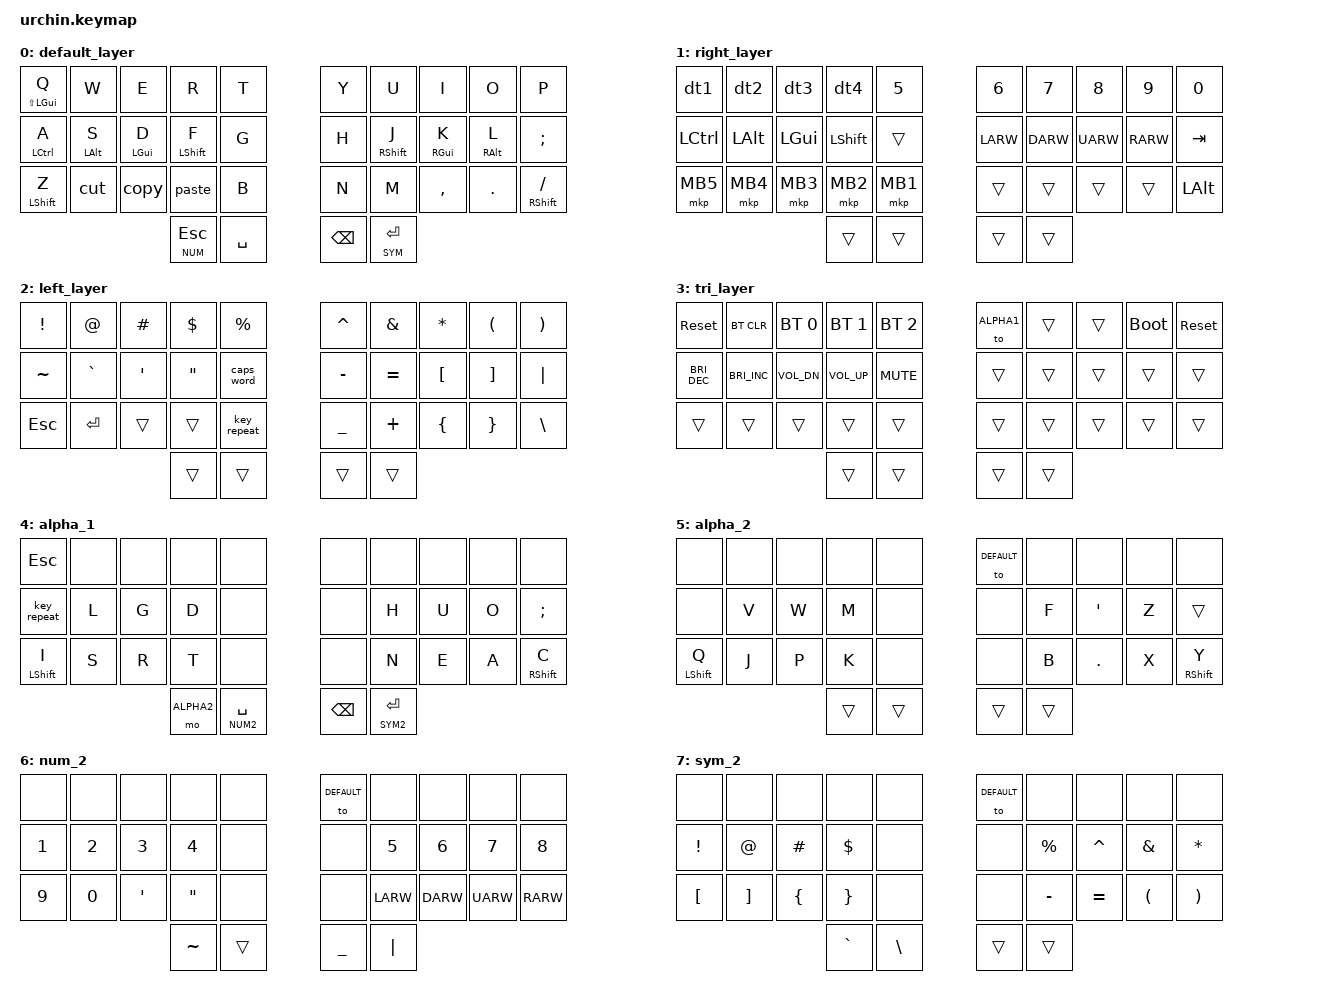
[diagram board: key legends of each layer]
/*
 * Copyright (c) 2020 duckyb
 *
 * SPDX-License-Identifier: MIT
 */

#include "keymap_italian.h"
#include <dt-bindings/zmk/mouse.h>
#include <behaviors.dtsi>
#include <dt-bindings/zmk/bt.h>
#include <dt-bindings/zmk/keys.h>

/* Layers */
#define DEFAULT 0
#define NUM 1
#define SYM 2
#define SETTING 3
#define ALPHA1 4
#define ALPHA2 5
#define NUM2 6
#define SYM2 7

/ {
    combos {
        // 0  1  2  3  4  ** 5  6  7  8  9
        // 10 11 12 13 14 ** 15 16 17 18 19
        // 20 21 22 23 24 ** 25 26 27 28 29
        //          30 31 ** 32 33

        compatible = "zmk,combos";
        combo_esc {
            timeout-ms = <50>;
            key-positions = <16 17>;
            bindings = <&kp ESC>;
        };
        combo_sl_0 {
            timeout-ms = <50>;
            key-positions = <13 14>;
            bindings = <&to DEFAULT>;
        };
        combo_sl_1 {
            timeout-ms = <50>;
            key-positions = <15 16>;
            bindings = <&to NUM>;
        };
        combo_repeat_key {
            timeout-ms = <50>;
            key-positions = <12 13>;
            bindings = <&key_repeat>;
        };
        combo_nuke_line {
            timeout-ms = <50>;
            key-positions = <25 26>;
            bindings = <&kp LG(BSPC)>;
        };
        combo_nuke_word {
            timeout-ms = <50>;
            key-positions = <26 27>;
            bindings = <&kp LA(BSPC)>;
        };
    };

    behaviors {
        ht: hold_tap {
            compatible = "zmk,behavior-hold-tap";
            #binding-cells = <2>;
            flavor = "tap-preferred";
            tapping-term-ms = <250>;
            quick-tap-ms = <150>;
            require-prior-idle-ms = <100>;
            bindings = <&kp>, <&kp>;
        };

        bhm: balanced_homerow_mods {
            compatible = "zmk,behavior-hold-tap";
            #binding-cells = <2>;
            tapping-term-ms = <250>;
            quick-tap-ms = <0>;
            flavor = "balanced";
            bindings = <&kp>, <&kp>;
        };

        cut: tap_dance_0 {
            compatible = "zmk,behavior-tap-dance";
            #binding-cells = <0>;
            tapping-term-ms = <250>;
            bindings = <&kp X>, <&kp LG(X)>;
        };

        copy: tap_dance_1 {
            compatible = "zmk,behavior-tap-dance";
            #binding-cells = <0>;
            tapping-term-ms = <250>;
            bindings = <&kp C>, <&kp LG(C)>;
        };

        paste: tap_dance_2 {
            compatible = "zmk,behavior-tap-dance";
            #binding-cells = <0>;
            tapping-term-ms = <250>;
            bindings = <&kp V>, <&kp LG(V)>;
        };

        dt1: tap_dance_3 {
            compatible = "zmk,behavior-tap-dance";
            #binding-cells = <0>;
            tapping-term-ms = <250>;
            bindings = <&kp N1>, <&kp LC(N1)>;
        };

        dt2: tap_dance_4 {
            compatible = "zmk,behavior-tap-dance";
            #binding-cells = <0>;
            tapping-term-ms = <250>;
            bindings = <&kp N2>, <&kp LC(N2)>;
        };

        dt3: tap_dance_5 {
            compatible = "zmk,behavior-tap-dance";
            #binding-cells = <0>;
            tapping-term-ms = <250>;
            bindings = <&kp N3>, <&kp LC(N3)>;
        };

        dt4: tap_dance_6 {
            compatible = "zmk,behavior-tap-dance";
            #binding-cells = <0>;
            tapping-term-ms = <250>;
            bindings = <&kp N4>, <&kp LC(N4)>;
        };
    };

    conditional_layers {
        compatible = "zmk,conditional-layers";

        tri_layer {
            if-layers = <1 2>;
            then-layer = <3>;
        };
    };

    keymap {
        compatible = "zmk,keymap";

        default_layer {
            bindings = <
&mt LS(LGUI) Q    &kp W          &kp E          &kp R            &kp T        &kp Y       &kp U            &kp I          &kp O          &kp P
&bhm LCTRL A      &bhm LALT S    &bhm LGUI D    &bhm LSHIFT F    &kp G        &kp H       &bhm RSHIFT J    &bhm RGUI K    &bhm RALT L    &kp SEMI
&bhm LSHIFT Z     &cut           &copy          &paste           &kp B        &kp N       &kp M            &kp COMMA      &kp DOT        &bhm RSHIFT FSLH
                                                &lt NUM ESC        &kp SPACE    &kp BSPC    &lt SYM ENTER
            >;
        };

        right_layer {
            bindings = <
&dt1             &dt2             &dt3            &dt4            &kp N5        &kp N6      &kp N7      &kp N8      &kp N9      &kp N0
&kp LCTRL       &kp LALT        &kp LGUI        &kp LSHIFT        &trans        &kp LARW    &kp DARW    &kp UARW    &kp RARW    &kp TAB
&mkp MB5         &mkp MB4         &mkp MB3        &mkp MB2        &mkp MB1      &trans      &trans      &trans      &trans      &kp LALT
                                                  &trans          &trans        &trans      &trans
            >;
        };

        left_layer {
            bindings = <
&kp EXCL     &kp AT       &kp HASH    &kp DLLR    &kp PRCNT      &kp CARET    &kp AMPS     &kp ASTRK    &kp LPAR    &kp RPAR
&kp TILDE    &kp GRAVE    &kp SQT     &kp DQT     &caps_word     &kp MINUS    &kp EQUAL    &kp LBKT     &kp RBKT    &kp PIPE
&kp ESC      &kp ENTER    &trans      &trans      &key_repeat    &kp UNDER    &kp PLUS     &kp LBRC     &kp RBRC    &kp BACKSLASH
                                      &trans      &trans         &trans       &trans
            >;
        };

        tri_layer {
            bindings = <
&sys_reset         &bt BT_CLR    &bt BT_SEL 0        &bt BT_SEL 1  &bt BT_SEL 2    &to ALPHA1    &trans    &trans    &bootloader    &sys_reset
&kp C_BRI_DEC       &kp C_BRI_INC    &kp C_VOL_DN    &kp C_VOL_UP    &kp C_MUTE    &trans    &trans    &trans    &trans     &trans
&trans         &trans    &trans    &trans    &trans    &trans    &trans    &trans    &trans    &trans
                                   &trans        &trans          &trans    &trans
            >;
        };

        alpha_1 {
            bindings = <
&kp ESC        &none        &none        &none        &none        &none        &none        &none        &none        &none
&key_repeat    &kp L     &kp G     &kp D      &none            &none    &kp H     &kp U     &kp O     &kp SEMI
&bhm LSHIFT I    &kp S      &kp R    &kp T    &none          &none    &kp N      &kp E    &kp A      &bhm RSHIFT C
                             &mo ALPHA2     &lt NUM2 SPACE                 &kp BSPC    &lt SYM2 ENTER
            >;
        };

        alpha_2 {
            bindings = <
&none        &none        &none        &none        &none            &to DEFAULT     &none        &none        &none        &none
&none        &kp V        &kp W        &kp M        &none            &none    &kp F        &kp SQT      &kp Z        &trans
&bhm LSHIFT Q    &kp J        &kp P        &kp K    &none            &none    &kp B        &kp DOT      &kp X       &bhm RSHIFT Y
                                &trans    &trans   &trans      &trans
            >;
        };

        num_2 {
            bindings = <
&none        &none        &none        &none        &none            &to DEFAULT     &none        &none        &none        &none
&kp N1    &kp N2       &kp N3        &kp N4    &none            &none    &kp N5        &kp N6      &kp N7        &kp N8
&kp N9    &kp N0        &kp SQT     &kp DQT    &none            &none    &kp LARW    &kp DARW    &kp UARW    &kp RARW
                                    &kp TILDE    &trans        &kp UNDERSCORE      &kp PIPE
            >;
        };

        sym_2 {
            bindings = <
&none        &none        &none        &none        &none            &to DEFAULT     &none        &none        &none        &none
&kp EXCL     &kp AT       &kp HASH    &kp DLLR    &none            &none    &kp PRCNT      &kp CARET    &kp AMPS     &kp ASTRK
 &kp LBKT     &kp RBKT     &kp LBRC     &kp RBRC    &none            &none    &kp MINUS    &kp EQUAL    &kp LPAR     &kp RPAR
                                &kp GRAVE         &kp BACKSLASH          	&trans      &trans
            >;
        };
    };
};
